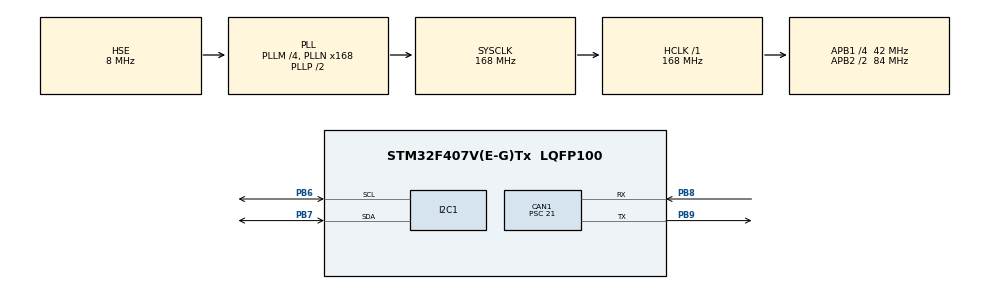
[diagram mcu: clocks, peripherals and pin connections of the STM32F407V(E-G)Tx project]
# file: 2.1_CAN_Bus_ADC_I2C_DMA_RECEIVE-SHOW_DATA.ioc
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CAN1.BS1=CAN_BS1_12TQ
CAN1.BS2=CAN_BS2_4TQ
CAN1.CalculateBaudRate=117647
CAN1.CalculateTimeBit=8500
CAN1.CalculateTimeQuantum=500.0
CAN1.Prescaler=21
Mcu.Family=STM32F4
Mcu.Name=STM32F407V(E-G)Tx
Mcu.Package=LQFP100
NVIC.CAN1_RX0_IRQn=true\:0\:0\:false\:false\:true\:true\:true\:true
NVIC.PriorityGroup=NVIC_PRIORITYGROUP_4
PB6.Mode=I2C
PB6.Signal=I2C1_SCL
PB7.Mode=I2C
PB7.Signal=I2C1_SDA
PB8.Mode=CAN_Activate
PB8.Signal=CAN1_RX
PB9.Mode=CAN_Activate
PB9.Signal=CAN1_TX
PH0-OSC_IN.Mode=HSE-External-Oscillator
PH0-OSC_IN.Signal=RCC_OSC_IN
PH1-OSC_OUT.Mode=HSE-External-Oscillator
PH1-OSC_OUT.Signal=RCC_OSC_OUT
ProjectManager.HeapSize=0x200
ProjectManager.StackSize=0x400
ProjectManager.TargetToolchain=STM32CubeIDE
RCC.48MHZClocksFreq_Value=84000000
RCC.AHBFreq_Value=168000000
RCC.APB1CLKDivider=RCC_HCLK_DIV4
RCC.APB1Freq_Value=42000000
RCC.APB1TimFreq_Value=84000000
RCC.APB2CLKDivider=RCC_HCLK_DIV2
RCC.APB2Freq_Value=84000000
RCC.APB2TimFreq_Value=168000000
RCC.CortexFreq_Value=168000000
RCC.HCLKFreq_Value=168000000
RCC.HSE_VALUE=8000000
RCC.HSI_VALUE=16000000
RCC.LSE_VALUE=32768
RCC.PLLM=4
RCC.PLLN=168
RCC.PLLSourceVirtual=RCC_PLLSOURCE_HSE
RCC.SYSCLKFreq_VALUE=168000000
RCC.SYSCLKSource=RCC_SYSCLKSOURCE_PLLCLK
RCC.VCOOutputFreq_Value=336000000
board=custom

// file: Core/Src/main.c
/* USER CODE BEGIN Header */
/**
  ******************************************************************************
  * @file           : main.c
  * @brief          : Main program body
  ******************************************************************************
  * @attention
  *
  * Copyright (c) 2022 STMicroelectronics.
  * All rights reserved.
  *
  * This software is licensed under terms that can be found in the LICENSE file
  * in the root directory of this software component.
  * If no LICENSE file comes with this software, it is provided AS-IS.
  *
  ******************************************************************************
  */
/* USER CODE END Header */
#include "main.h"

/* USER CODE BEGIN Includes */
#include "i2c-lcd.h"
/* USER CODE END Includes */

 CAN_HandleTypeDef hcan1;

I2C_HandleTypeDef hi2c1;

/* USER CODE BEGIN PV */

CAN_FilterTypeDef	sFilterConfig;
CAN_TxHeaderTypeDef pTxHeader;
CAN_RxHeaderTypeDef pRxHeader;
uint8_t r_Adc_Value;

/* USER CODE END PV */

void SystemClock_Config(void);
static void MX_GPIO_Init(void);
static void MX_CAN1_Init(void);
static void MX_I2C1_Init(void);

int main(void)
{

  /* MCU Configuration--------------------------------------------------------*/

  /* Reset of all peripherals, Initializes the Flash interface and the Systick. */
  HAL_Init();

  /* Configure the system clock */
  SystemClock_Config();

  /* Initialize all configured peripherals */
  MX_GPIO_Init();
  MX_CAN1_Init();
  MX_I2C1_Init();
  /* USER CODE BEGIN 2 */

  pTxHeader.DLC=1;
  pTxHeader.IDE=CAN_ID_STD;
  pTxHeader.RTR=CAN_RTR_DATA;
  pTxHeader.StdId=0x0155;

  sFilterConfig.FilterBank=0;//0-13 FARKLI FILTER DEGER AZALDIKCA ONCELIK ARTAR
  sFilterConfig.FilterActivation=CAN_FILTER_ENABLE;
  sFilterConfig.FilterFIFOAssignment=CAN_FILTER_FIFO0;
  sFilterConfig.FilterIdHigh=0x0150 << 5; // EXTENTED ID OLSAYDI >>13 //
  sFilterConfig.FilterIdLow=0x0070;   // 0XFF0  | CAN_IDE_32 ; EXTENTED DA AŞAĞIYIDA FİLTERLER
  sFilterConfig.FilterMaskIdHigh=0xFFF0; // 0x0150 << 5; 0150-015F // EXTENTED ID OLSAYDI >>13 //
  sFilterConfig.FilterMaskIdLow=0x0FF0 ; // 0070-007F 			// 0XFF0  | CAN_IDE_32 ; EXTENTED DA AŞAĞIYIDA FİLTERLER
  sFilterConfig.FilterMode=CAN_FILTERMODE_IDMASK; // IDLIST SADECE MASKTAKI VE FILTERDAKI ID LER 4*14=56 ID FILTRELENIR
  sFilterConfig.FilterScale=CAN_FILTERSCALE_16BIT;

  HAL_CAN_ConfigFilter(&hcan1,&sFilterConfig );

  HAL_CAN_Start(&hcan1);
  HAL_CAN_ActivateNotification(&hcan1, CAN_IT_RX_FIFO0_MSG_PENDING);

  lcd_init();

  lcd_send_string("CAN BUS ADC");

  HAL_Delay(2000);

  /* USER CODE END 2 */

  /* Infinite loop */
  while (1)
  {

  }
}

void SystemClock_Config(void)
{
  RCC_OscInitTypeDef RCC_OscInitStruct = {0};
  RCC_ClkInitTypeDef RCC_ClkInitStruct = {0};

  /** Configure the main internal regulator output voltage
  */
  __HAL_RCC_PWR_CLK_ENABLE();
  __HAL_PWR_VOLTAGESCALING_CONFIG(PWR_REGULATOR_VOLTAGE_SCALE1);

  /** Initializes the RCC Oscillators according to the specified parameters
  * in the RCC_OscInitTypeDef structure.
  */
  RCC_OscInitStruct.OscillatorType = RCC_OSCILLATORTYPE_HSE;
  RCC_OscInitStruct.HSEState = RCC_HSE_ON;
  RCC_OscInitStruct.PLL.PLLState = RCC_PLL_ON;
  RCC_OscInitStruct.PLL.PLLSource = RCC_PLLSOURCE_HSE;
  RCC_OscInitStruct.PLL.PLLM = 4;
  RCC_OscInitStruct.PLL.PLLN = 168;
  RCC_OscInitStruct.PLL.PLLP = RCC_PLLP_DIV2;
  RCC_OscInitStruct.PLL.PLLQ = 4;
  if (HAL_RCC_OscConfig(&RCC_OscInitStruct) != HAL_OK)
  {
    Error_Handler();
  }

  /** Initializes the CPU, AHB and APB buses clocks
  */
  RCC_ClkInitStruct.ClockType = RCC_CLOCKTYPE_HCLK|RCC_CLOCKTYPE_SYSCLK
                              |RCC_CLOCKTYPE_PCLK1|RCC_CLOCKTYPE_PCLK2;
  RCC_ClkInitStruct.SYSCLKSource = RCC_SYSCLKSOURCE_PLLCLK;
  RCC_ClkInitStruct.AHBCLKDivider = RCC_SYSCLK_DIV1;
  RCC_ClkInitStruct.APB1CLKDivider = RCC_HCLK_DIV4;
  RCC_ClkInitStruct.APB2CLKDivider = RCC_HCLK_DIV2;

  if (HAL_RCC_ClockConfig(&RCC_ClkInitStruct, FLASH_LATENCY_5) != HAL_OK)
  {
    Error_Handler();
  }
}

static void MX_CAN1_Init(void)
{

  hcan1.Instance = CAN1;
  hcan1.Init.Prescaler = 21;
  hcan1.Init.Mode = CAN_MODE_NORMAL;
  hcan1.Init.SyncJumpWidth = CAN_SJW_1TQ;
  hcan1.Init.TimeSeg1 = CAN_BS1_12TQ;
  hcan1.Init.TimeSeg2 = CAN_BS2_4TQ;
  hcan1.Init.TimeTriggeredMode = DISABLE;
  hcan1.Init.AutoBusOff = DISABLE;
  hcan1.Init.AutoWakeUp = DISABLE;
  hcan1.Init.AutoRetransmission = DISABLE;
  hcan1.Init.ReceiveFifoLocked = DISABLE;
  hcan1.Init.TransmitFifoPriority = DISABLE;
  if (HAL_CAN_Init(&hcan1) != HAL_OK)
  {
    Error_Handler();
  }

}

static void MX_I2C1_Init(void)
{

  hi2c1.Instance = I2C1;
  hi2c1.Init.ClockSpeed = 100000;
  hi2c1.Init.DutyCycle = I2C_DUTYCYCLE_2;
  hi2c1.Init.OwnAddress1 = 0;
  hi2c1.Init.AddressingMode = I2C_ADDRESSINGMODE_7BIT;
  hi2c1.Init.DualAddressMode = I2C_DUALADDRESS_DISABLE;
  hi2c1.Init.OwnAddress2 = 0;
  hi2c1.Init.GeneralCallMode = I2C_GENERALCALL_DISABLE;
  hi2c1.Init.NoStretchMode = I2C_NOSTRETCH_DISABLE;
  if (HAL_I2C_Init(&hi2c1) != HAL_OK)
  {
    Error_Handler();
  }

}

static void MX_GPIO_Init(void)
{

  /* GPIO Ports Clock Enable */
  __HAL_RCC_GPIOH_CLK_ENABLE();
  __HAL_RCC_GPIOB_CLK_ENABLE();

}

void Error_Handler(void)
{
  __disable_irq();
  while (1)
  {
  }
}
